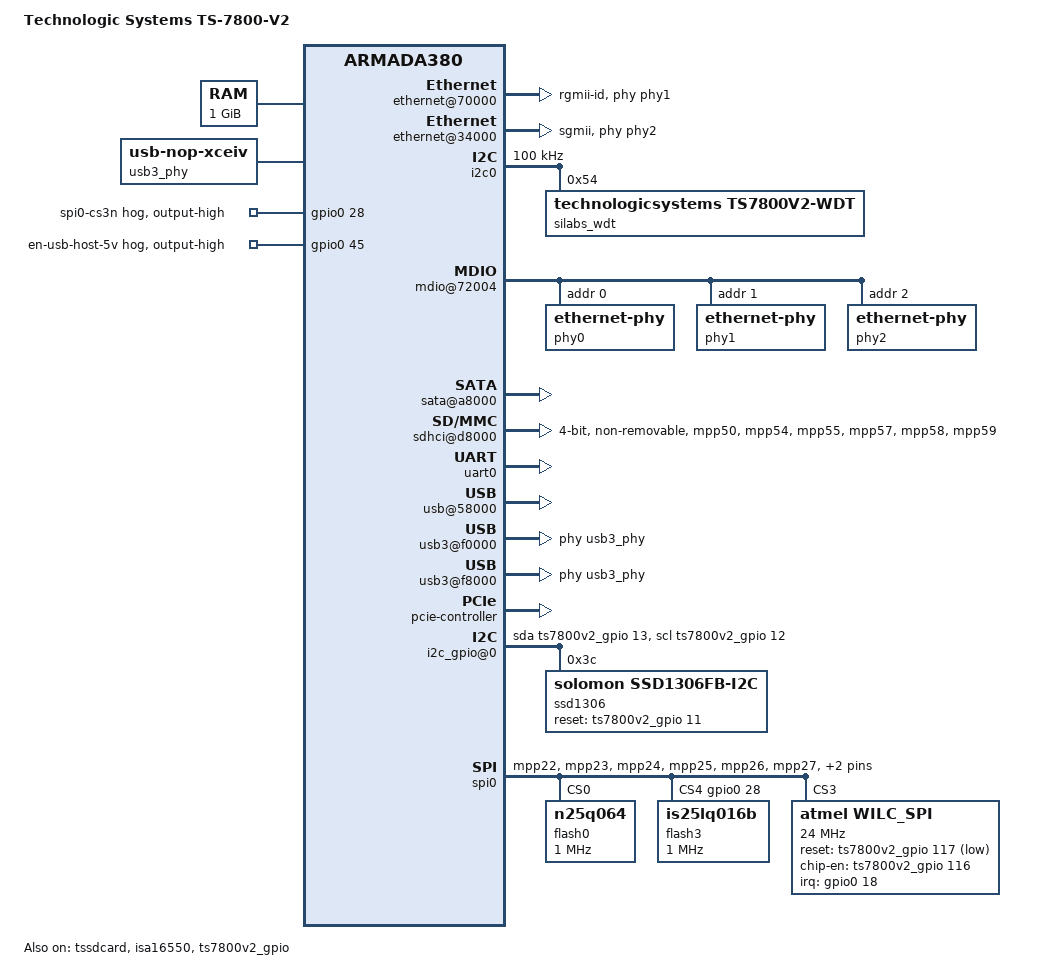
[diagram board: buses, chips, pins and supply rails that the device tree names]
/*
 * Device Tree file for Technologic Systems TS-7800-V2
 *
 *  Copyright (C) 2017 Technologic Systems
 *
 * Mark Featherston <mark@embeddedarm.com>
 *
 * This file is dual-licensed: you can use it either under the terms
 * of the GPL or the X11 license, at your option. Note that this dual
 * licensing only applies to this file, and not this project as a
 * whole.
 *
 *  a) This file is licensed under the terms of the GNU General Public
 *     License version 2.  This program is licensed "as is" without
 *     any warranty of any kind, whether express or implied.
 *
 * Or, alternatively,
 *
 *  b) Permission is hereby granted, free of charge, to any person
 *     obtaining a copy of this software and associated documentation
 *     files (the "Software"), to deal in the Software without
 *     restriction, including without limitation the rights to use,
 *     copy, modify, merge, publish, distribute, sublicense, and/or
 *     sell copies of the Software, and to permit persons to whom the
 *     Software is furnished to do so, subject to the following
 *     conditions:
 *
 *     The above copyright notice and this permission notice shall be
 *     included in all copies or substantial portions of the Software.
 *
 *     THE SOFTWARE IS PROVIDED "AS IS", WITHOUT WARRANTY OF ANY KIND,
 *     EXPRESS OR IMPLIED, INCLUDING BUT NOT LIMITED TO THE WARRANTIES
 *     OF MERCHANTABILITY, FITNESS FOR A PARTICULAR PURPOSE AND
 *     NONINFRINGEMENT. IN NO EVENT SHALL THE AUTHORS OR COPYRIGHT
 *     HOLDERS BE LIABLE FOR ANY CLAIM, DAMAGES OR OTHER LIABILITY,
 *     WHETHER IN AN ACTION OF CONTRACT, TORT OR OTHERWISE, ARISING
 *     FROM, OUT OF OR IN CONNECTION WITH THE SOFTWARE OR THE USE OR
 *     OTHER DEALINGS IN THE SOFTWARE.
 */

/dts-v1/;
#include "armada-385.dtsi"

#include <dt-bindings/gpio/gpio.h>

/ {
   model = "Technologic Systems TS-7800-V2";
   compatible = "technologic,a385-ts7800-v2", "marvell,armada385", "marvell,armada380";

   aliases {
      ethernet1 = &eth0;
      spi0 = &spi0;
   };

   chosen {
      stdout-path = "serial0:115200n8";
   };

   memory {
      device_type = "memory";
      reg = <0x00000000 0x40000000>; /* 1GB */
   };

   soc {
      ranges = <MBUS_ID(0xf0, 0x01) 0 0xf1000000 0x100000
           MBUS_ID(0x01, 0x1d) 0 0xfff00000 0x100000
           MBUS_ID(0x09, 0x19) 0 0xf1100000 0x10000
           MBUS_ID(0x09, 0x15) 0 0xf1110000 0x10000
           MBUS_ID(0x0c, 0x04) 0 0xf1200000 0x100000>;

      internal-regs {
         bm@c8000 {
            status = "okay";
         };

         /* magjack/sfp port 0 */
         ethernet@70000 {
            pinctrl-names = "default";
            pinctrl-0 = <&ge0_rgmii_pins>;
            status = "okay";
            phy = <&phy1>;
            phy-mode = "rgmii-id";
            buffer-manager = <&bm>;
            bm,pool-long = <0>;
            bm,pool-short = <3>;
         };


         /* sgmii port to eth switch */
         ethernet@34000 {
            status = "okay";
            phy = <&phy2>;
            phy-mode = "sgmii";
            buffer-manager = <&bm>;
            bm,pool-long = <2>;
            bm,pool-short = <3>;
         };


         i2c0: i2c@11000 {
            pinctrl-names = "default";
            pinctrl-0 = <&i2c0_pins>;
            clock-frequency = <100000>;
            status = "okay";
            #address-cells = <1>;
            #size-cells = <0>;

            silabs_wdt: silabs-wdt@54 {
                  compatible = "technologicsystems,ts7800v2-wdt";
                  reg = <0x54>;
                  status = "okay";
            };

         };

         mdio@72004 {
            pinctrl-names = "default";
            pinctrl-0 = <&mdio_pins>;

            phy0: ethernet-phy@0 {
               reg = <0>;
            };

            phy1: ethernet-phy@1 {
               reg = <1>;
            };

            /* eth switch */
            phy2: ethernet-phy@2 {
               reg = <2>;
            };

         };

         pinctrl: pinctrl@18000 {
            sdhci_pins0: sdhci-pins0 {
               marvell,pins = "mpp50", "mpp54", "mpp55",
                         "mpp57", "mpp58", "mpp59";
               marvell,function = "sd0";
            };

            spi0_pins: spi-pins-0 {
               marvell,pins = "mpp22",   // SPI_0_MOSI
                              "mpp23",   // SPI_0_CLK
                              "mpp24",   // SPI_0_MISO
                              "mpp25",   // SPI_0_BOOT_CS0#, native CS[0]
                              "mpp26",   // CS1 n/c
                              "mpp27";   // SPI_0_WIFI_CS2#, native CS[3]
               marvell,function = "spi0";
            };

            spi0_cs_gpio_pins: spi0-cs-gpio-pins {
               marvell,pins = "mpp18", // WIFI_IRQ#
                              "mpp28"; // SPI_0_CS3#, non-native CS[4]
               marvell,function = "gpio";
               bias-pull-up;
            };
         };

         sata@a8000 {
            status = "okay";
         };

         sdhci@d8000 {
            bus-width = <4>;
            no-1-8-v;
            non-removable;
            pinctrl-0 = <&sdhci_pins0>;
            pinctrl-names = "default";
            status = "okay";
         };

         uart0: serial@12000 {
            pinctrl-names = "default";
            pinctrl-0 = <&uart0_pins>;
            status = "okay";
            u-boot,dm-pre-reloc;
         };

         usb@58000 {                     /* USB 2.0 Host/Device port 0 */
            status = "okay";
         };

         usb3@f0000 {                    /* USB 3.0 Host Port 0 */
            status = "okay";
            usb-phy = <&usb3_phy>;
         };

         usb3@f8000 {                    /* USB 3.0 Host Port 1 */
            status = "okay";
            usb-phy = <&usb3_phy>;
         };
      };

      bm-bppi {
         status = "okay";
      };

      pcie-controller {
         status = "okay";

            /* full size PCIe connector */
         pcie@1,0 {
            /* Port 0, Lane 0 */
            status = "okay";
         };

         /* M.2 WIFI */
         pcie@2,0 {
            /* Port 1, Lane 0 */
            status = "okay";
         };

         /* FPGA */
         pcie@3,0 {
            /* Port 2, Lane 0 */
            status = "okay";
         };

      };
   };

   usb3_phy: usb3_phy {
      compatible = "usb-nop-xceiv";
      /* Set up a vcc_supply for U16 on the FPGA */
      /*vcc-supply = <&reg_xhci0_vbus>; */
   };

   tssdcard: tssdcard@0x0xfc081100 { /* drivers/mmc/host/tssdcard.c */
      compatible = "technologicsystems,tssdcard";
      #address-cells = <0x1>;
      #size-cells = <0x0>;
      reg = <0xfc081100 512>;
      tssdcard,ndevices = <1>;
      status = "okay";
   };

   isa16550:  isa16550 { /* drivers/tty/serial/8250/ts7800_isa16550.c */
      compatible = "technologicsystems,isa16550";
      #address-cells = <0x1>;
      #size-cells = <0x0>;
      reg = <0xFA000000 0x400>;
      isa16550,nports = <4>;   /* assuming a TS-SER4 */
      status = "okay";
   };

   ax88796: ax88796 {
      compatible = "asix,ax88796";
      #address-cells = <0x1>;
      #size-cells = <0x0>;
      reg = <0xFA000100 32>;  /* There are 32 8-bit registers here */
      interrupts = <122>, <123>, <124>;
      status = "okay";
   };

   ts7800v2_gpio: ts7800v2-gpio {   /* drivers/gpio/gpio-ts7800-v2.c */
      compatible = "technologic,ts7800v2-gpio";
      gpio-controller;
      #gpio-cells = <2>;
      base = <64>;
      ngpios = <118>;
      #address-cells = <0x1>;
      #size-cells = <0>;
      reg = <0xFC081000 0x100>;     /* syscon register */
      status = "okay";
   };

   i2c_gpio@0 {
      compatible = "i2c-gpio";
      gpios = <&ts7800v2_gpio 13 GPIO_ACTIVE_LOW /* sda = CN8 pin 15*/
       &ts7800v2_gpio 12 GPIO_ACTIVE_LOW /* scl = CN8 pin 14*/
       >;

      status = "okay";
      i2c-gpio,sda-open-drain;
      i2c-gpio,scl-open-drain;
      i2c-gpio,delay-us = <2>;	/* ~100 kHz */
      #address-cells = <1>;
      #size-cells = <0>;

      ssd1306: oled@3c {   /* Used for an Arduino-style OLED display on i2c */
         compatible = "solomon,ssd1306fb-i2c";
         reg = <0x3c>;
         reset-gpios = <&ts7800v2_gpio 11 0>;   // CN8 pin 13
         solomon,height = <64>;
         solomon,width = <128>;
         solomon,page-offset = <0>;
         solomon,com-invdir;
         solomon,com-offset = <0>;
         solomon,prechargep1 = <1>;
         solomon,prechargep2 = <0xF>;
         status = "okay";
      };
   };

};


&spi0 {
   pinctrl-names = "default";
   pinctrl-0 = <&spi0_pins &spi0_cs_gpio_pins>;
   #address-cells = <1>;
   #size-cells = <0>;
   status = "okay";
   u-boot,dm-pre-reloc;
   num-cs = <5>;
   cs-gpios = <0>, <0>, <0>, <0>, <&gpio0 28 0>; // cs[0], cs[1], cs[2], cs[3], cs[4]

   flash0: n25q064@0 {         /* SPI_0_BOOT */
      compatible = "n25q064", "jedec,spi-nor";
      reg = <0>;
      spi-max-frequency = <1000000>;
      u-boot,dm-pre-reloc;
      status = "okay";
   };

   flash3: is25lq016b@3 {      /* FPGA SPI , SPI_0_CS3#, non-native gpio cs[4] */
      compatible = "is25lq016b", "jedec,spi-nor";
      reg = <0x4>;
      spi-max-frequency = <1000000>;
      u-boot,dm-pre-reloc;
      status = "okay";
   };

   wilc_spi@0 {   /* WILC3000 module, SPI_0_WIFI_CS2#, MPP[27] = native cs[3]*/
      compatible = "atmel,wilc_spi";
      reg = <3>;
      spi-max-frequency = <24000000>;
      wilc3000,reset-gpios = <&ts7800v2_gpio 117 GPIO_ACTIVE_LOW>;     /* WIFI_RESET#  */
      wilc3000,chip-en-gpios = <&ts7800v2_gpio 116 GPIO_ACTIVE_HIGH>;   /* EN_WIFI_PWR */
      wilc3000,irq-gpios = <&gpio0 18 0>;       /* WIFI_IRQ# is on MPP[18] */
      status = "okay";
    };
};

&gpio0 {
   status = "okay";

   spi0_cs3n {
      gpio-hog;
      gpios = <28 0x0>;
      output-high;
      line-name = "spi0-cs3n";
   };

   en_usb_host_5v {
      gpio-hog;
      gpios = <45 0x0>;
      output-high;
      line-name = "en-usb-host-5v";
   };

};


